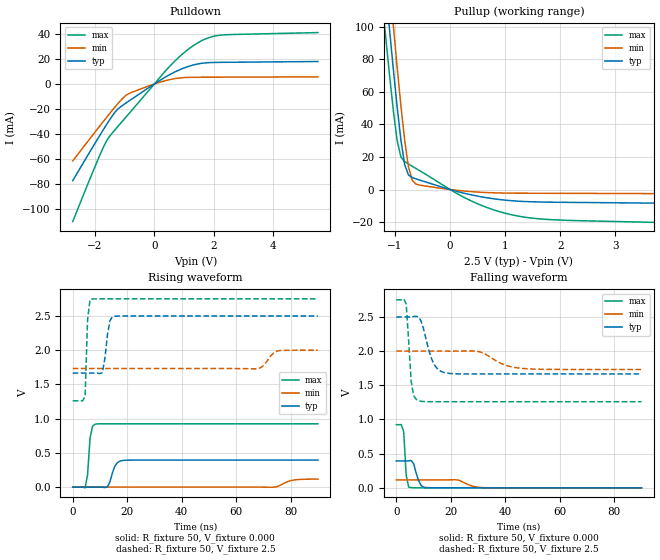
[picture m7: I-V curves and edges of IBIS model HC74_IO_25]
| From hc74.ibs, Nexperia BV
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|   Model HC74_IO_25
[Model]   HC74_IO_25
Model_type   I/O
Polarity   Non-Inverting
Enable   Active-Low
Vinl  =  0.9000V
Vinh  =  2.1000V
Vmeas =  1.25V
Cref  =  5e-11
Rref  =  1e+06
Vref  =  0V
C_comp   1.2764pF   0.9255pF   1.7800pF
[Model Spec]
| Note: The input and output voltage ratings may be exceeded if the input and
|   output current ratings are observed (please refer to the data sheet)
|   Subparameter   typ   min   max
| Timing Thresholds
Vmeas   1.25   1.0   1.375
|Ambient temperature:   25   85   -40
[Temperature Range]   35   95   -30
[Voltage Range]   2.5   2.0   2.75
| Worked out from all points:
|   slope of the pulldown table from 0 to 0.375 V, typ, clamps not added: 67.5 ohm
|   slope of the pullup table from 0 to 0.375 V, typ, clamps not added: 118 ohm
|   rising waveform, R_fixture 50, V_fixture 0.000: 20-80 % time 1.99ns typ, 3.93ns min, 1.02ns max; typ from 0 V to 0.394 V
|   rising waveform, R_fixture 50, V_fixture 2.5: 20-80 % time 1.63ns typ, 3.19ns min, 744ps max; typ from 1.67 V to 2.5 V
|   falling waveform, R_fixture 50, V_fixture 0.000: 20-80 % time 1.88ns typ, 4.11ns min, 790ps max; typ from 0.394 V to 0 V
|   falling waveform, R_fixture 50, V_fixture 2.5: 20-80 % time 3.6ns typ, 7.66ns min, 1.43ns max; typ from 2.5 V to 1.67 V
|Process Range   nominal   slow   fast
[Pulldown]
|   voltage   I(typ)   I(min)   I(max)
-2.75V    -77.3mA    -61.54mA   -110mA
-1.925V   -44.52mA   -36.22mA   -61.81mA
-1.719V   -36.54mA   -29.99mA   -50.63mA
-1.581V   -31.35mA   -25.87mA   -44.36mA
-1.238V   -20.2mA    -15.92mA   -34.18mA
-1.031V   -16.45mA   -10.63mA   -28.5mA
-825mV    -13.13mA   -7.336mA   -22.84mA
412.5mV   6.072mA    2.87mA     11.46mA
1.1V      13.63mA    5.187mA    26.96mA
1.65V     16.65mA    5.355mA    35.24mA
2.131V    17.19mA    5.393mA    38.69mA
5.5V      17.9mA     5.618mA    41.02mA
[Pullup]
|   voltage   I(typ)   I(min)   I(max)
-2.75V    738.4mA    806mA      675.2mA
-1.238V   148.7mA    180.7mA    117.3mA
-1.169V   123.3mA    153.7mA    93.47mA
-1.1V     98.3mA     127mA      70.4mA
-1.031V   74.07mA    100.9mA    48.74mA
-962.5mV  51.1mA     75.61mA    30.36mA
-825mV    15.35mA    30.41mA    17.19mA
-756.2mV  8.934mA    14.01mA    15.69mA
-618.8mV  6.541mA    3.337mA    12.92mA
412.5mV   -3.455mA   -1.357mA   -7.431mA
1.306V    -7.283mA   -2.25mA    -16.72mA
5.5V      -8.894mA   -2.683mA   -21.55mA
[Ramp]
| variable   typ   min   max
dV/dt_r  2.3612E-01/1.9905E-09  6.9437E-02/3.9314E-09  5.5439E-01/1.0235E-09
dV/dt_f  2.3612E-01/1.8816E-09  6.9556E-02/4.1123E-09  5.5439E-01/7.9015E-10
R_load = 50
[Rising Waveform]
R_fixture   = 50
V_fixture   = 0.000
V_fixture_min = 0.000
V_fixture_max = 0.000
| time   V(typ)   V(min)   V(max)
0s        4.133pV    859.3pV    173fV
4.546ns   -380.8nV   -9.439nV   -11.9mV
5.455ns   -409.5nV   -3.464nV   178.7mV
6.364ns   -584.1nV   -423.1pV   715.8mV
8.182ns   15.72uV    1.195nV    917.4mV
12.73ns   2.057mV    1.013nV    924mV
15.45ns   302.7mV    337.4pV    924mV
18.18ns   386.9mV    -271.7pV   924mV
73.64ns   393.5mV    -3.133mV   924mV
90ns      393.5mV    115.7mV    924mV
[Rising Waveform]
R_fixture   = 50
V_fixture   = 2.5
V_fixture_min = 2.0
V_fixture_max = 2.75
| time   V(typ)   V(min)   V(max)
0s        1.666V     1.732V     1.26V
4.546ns   1.666V     1.732V     1.327V
5.455ns   1.666V     1.732V     2.445V
6.364ns   1.666V     1.732V     2.74V
10.91ns   1.672V     1.732V     2.75V
13.64ns   2.427V     1.732V     2.75V
14.55ns   2.489V     1.732V     2.75V
67.27ns   2.5V       1.728V     2.75V
75.45ns   2.5V       1.992V     2.75V
90ns      2.5V       2V         2.75V
[Falling Waveform]
R_fixture   = 50
V_fixture   = 0.000
V_fixture_min = 0.000
V_fixture_max = 0.000
| time   V(typ)   V(min)   V(max)
0s        393.5mV    115.9mV    924mV
1.818ns   393.4mV    115.9mV    925.1mV
2.727ns   393.4mV    115.9mV    821.7mV
3.636ns   393.6mV    115.9mV    183.8mV
4.546ns   395mV      115.9mV    11.34mV
6.364ns   355.5mV    115.9mV    1.279mV
9.091ns   35.87mV    115.9mV    73.25uV
10.91ns   4.247mV    115.9mV    10.64uV
31.82ns   106.2nV    3.211mV    -35.99pV
90ns      4.133pV    8.664nV    173fV
[Falling Waveform]
R_fixture   = 50
V_fixture   = 2.5
V_fixture_min = 2.0
V_fixture_max = 2.75
| time   V(typ)   V(min)   V(max)
0s        2.5V       2V         2.75V
3.636ns   2.5V       2V         2.693V
5.455ns   2.5V       2V         1.561V
6.364ns   2.507V     2V         1.352V
8.182ns   2.5V       2V         1.275V
13.64ns   1.825V     2V         1.26V
18.18ns   1.681V     2V         1.26V
30ns      1.666V     1.995V     1.26V
46.36ns   1.666V     1.747V     1.26V
90ns      1.666V     1.732V     1.26V
